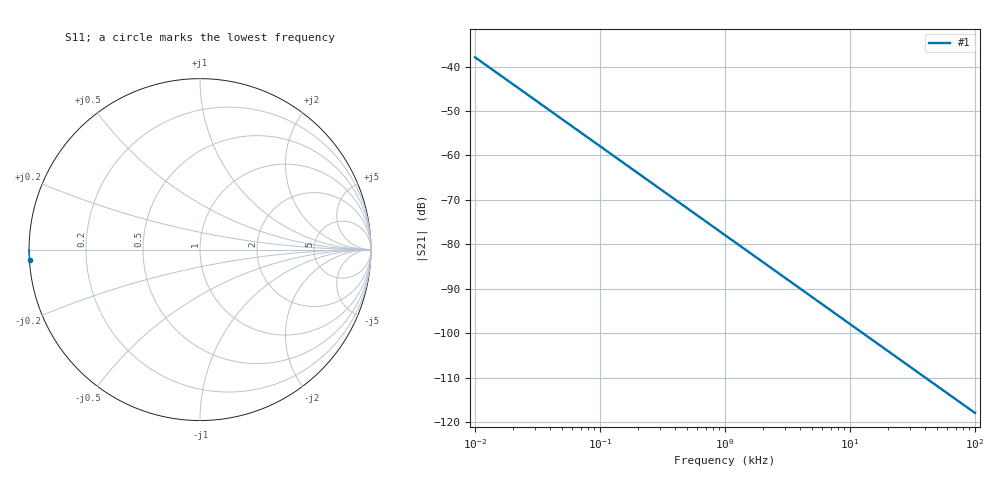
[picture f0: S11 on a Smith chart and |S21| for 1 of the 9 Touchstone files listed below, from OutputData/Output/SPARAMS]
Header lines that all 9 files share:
[Version] 2.0
[Number of Ports] 2
[Two-Port Data Order] 12_21
[Reference] 50 50
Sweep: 10 Hz to 100 kHz
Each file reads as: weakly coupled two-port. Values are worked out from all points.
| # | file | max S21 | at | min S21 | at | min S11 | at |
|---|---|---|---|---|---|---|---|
| 1 | sparams-ts2-dataFormat.cir.db.s2p | -37.91 dB | 10 Hz | -117.9 dB | 100 kHz | 0.0 dB | 10 Hz |
| 2 | sparams-ts2-dataFormat.cir.ma.s2p | -37.91 dB | 10 Hz | -117.9 dB | 100 kHz | 0.0 dB | 10 Hz |
| 3 | sparams-ts2-dataFormat.cir.ri.s2p | -37.91 dB | 10 Hz | -117.9 dB | 100 kHz | 0.0 dB | 10 Hz |
| 4 | yparams-ts2.cir.db.s2p | -37.91 dB | 10 Hz | -117.9 dB | 100 kHz | 0.0 dB | 10 Hz |
| 5 | yparams-ts2.cir.ma.s2p | -37.91 dB | 10 Hz | -117.9 dB | 100 kHz | 0.0 dB | 10 Hz |
| 6 | yparams-ts2.cir.s2p | -37.91 dB | 10 Hz | -117.9 dB | 100 kHz | 0.0 dB | 10 Hz |
| 7 | zparams-ts2.cir.db.s2p | -37.91 dB | 10 Hz | -117.9 dB | 100 kHz | 0.0 dB | 10 Hz |
| 8 | zparams-ts2.cir.ma.s2p | -37.91 dB | 10 Hz | -117.9 dB | 100 kHz | 0.0 dB | 10 Hz |
| 9 | zparams-ts2.cir.s2p | -37.91 dB | 10 Hz | -117.9 dB | 100 kHz | 0.0 dB | 10 Hz |
